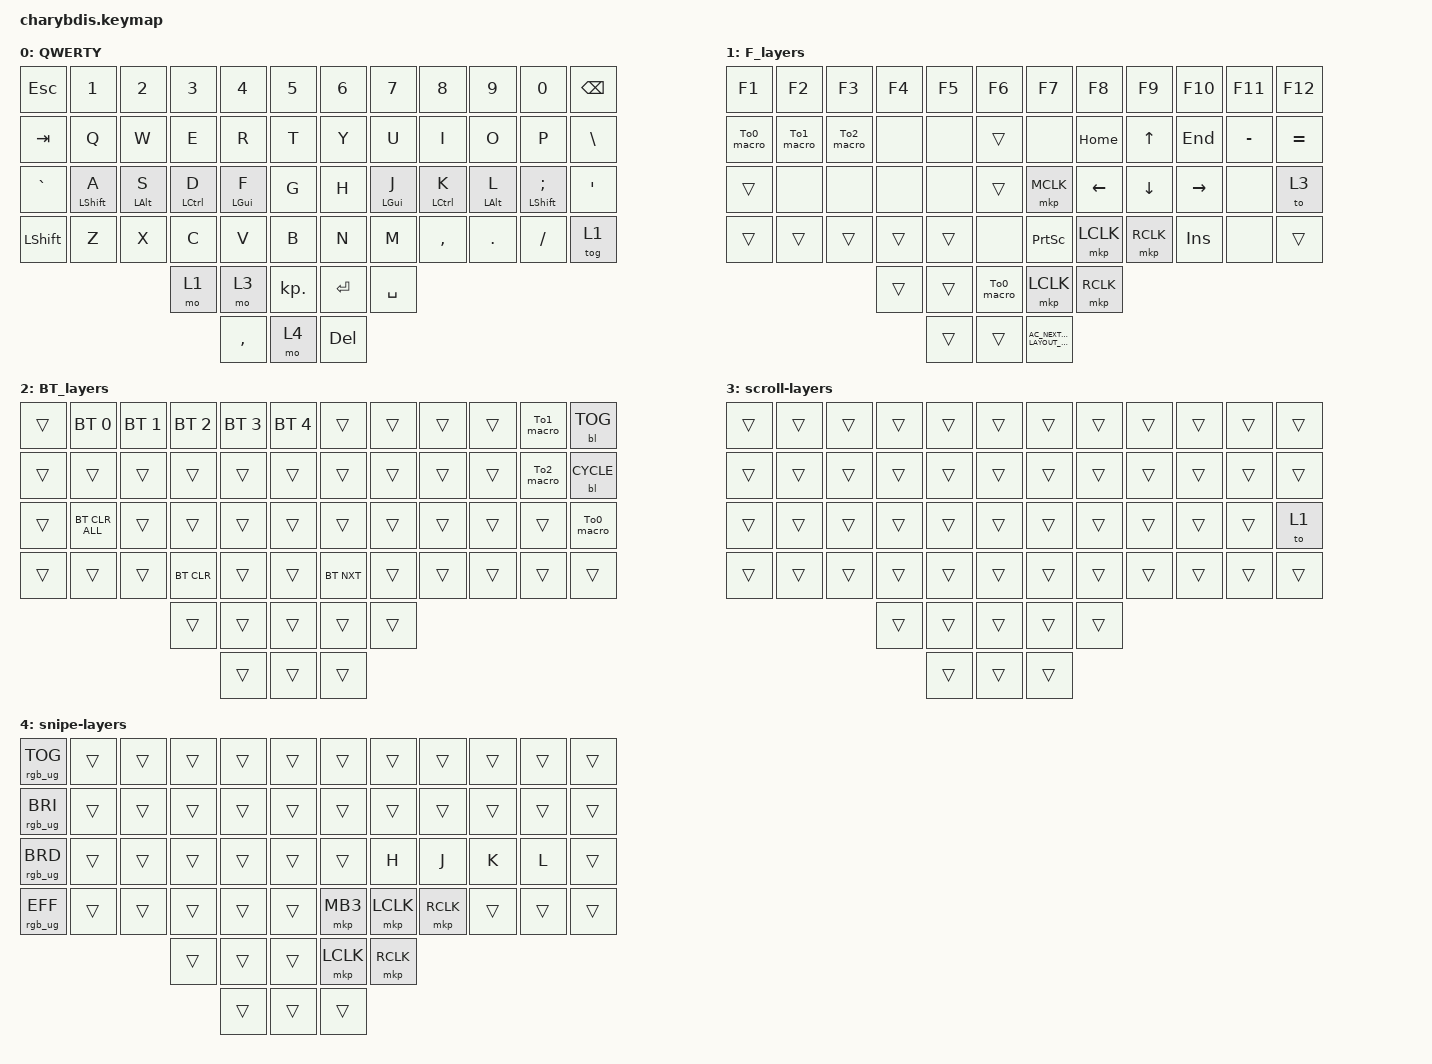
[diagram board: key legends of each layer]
#include <behaviors.dtsi>
#include <dt-bindings/zmk/backlight.h>
#include <dt-bindings/zmk/bt.h>
#include <dt-bindings/zmk/keys.h>
#include <dt-bindings/zmk/pointing.h>
#include <dt-bindings/zmk/rgb.h>

&lt {
    tapping-term-ms = <280>;
    flavor = "balanced";
    quick-tap-ms = <100>;
    hold-trigger-on-release;
};

&mt {
    quick-tap-ms = <50>;
    flavor = "tap-preferred";
    tapping-term-ms = <250>;
};

/ {
    macros {
        To1_macro: To1_macro {
            compatible = "zmk,behavior-macro";
            label = "To1_macro";
            #binding-cells = <0>;
            bindings = <&rgb_ug RGB_EFF &rgb_ug RGB_COLOR_HSB(128,100,50) &to 1>;
        };

        To0_macro: To0_macro {
            compatible = "zmk,behavior-macro";
            label = "To0_macro";
            #binding-cells = <0>;
            bindings = <&rgb_ug RGB_EFR &to 0>;
        };

        To2_macro: To2_macro {
            compatible = "zmk,behavior-macro";
            label = "To2_macro";
            #binding-cells = <0>;
            bindings =
                <&to 2>,
                <&macro_wait_time 30>,
                <&rgb_ug RGB_COLOR_HSB(250,100,50)>;
        };
    };

    combos {
        compatible = "zmk,combos";

        brackets_open {
            bindings = <&kp LEFT_BRACKET>;
            key-positions = <16 17>;
        };

        brackets_close {
            bindings = <&kp RIGHT_BRACKET>;
            key-positions = <18 19>;
        };

        minus_tap {
            bindings = <&kp MINUS>;
            key-positions = <28 29>;
        };

        plus_tap {
            bindings = <&kp PLUS>;
            key-positions = <30 31>;
        };
    };

    keymap {
        compatible = "zmk,keymap";

        QWERTY {
            bindings = <
&kp ESC         &kp N1            &kp N2          &kp N3       &kp N4          &kp N5        &kp N6     &kp N7          &kp N8       &kp N9          &kp N0                    &kp BACKSPACE
&kp TAB         &kp Q             &kp W           &kp E        &kp R           &kp T         &kp Y      &kp U           &kp I        &kp O           &kp P                     &kp BSLH
&kp GRAVE       &mt LEFT_SHIFT A  &mt LEFT_ALT S  &mt LCTRL D  &mt LEFT_GUI F  &kp G         &kp H      &mt LEFT_GUI J  &mt LCTRL K  &mt LEFT_ALT L  &mt LEFT_SHIFT SEMICOLON  &kp SQT
&kp LEFT_SHIFT  &kp Z             &kp X           &kp C        &kp V           &kp B         &kp N      &kp M           &kp COMMA    &kp DOT         &kp FSLH                  &tog 1
                                                  &mo 1        &mo 3           &kp KP_DOT    &kp ENTER  &kp SPACE
                                                               &kp COMMA       &mo 4         &kp DEL
            >;
        };

        F_layers {
            bindings = <
&kp F1      &kp F2      &kp F3      &kp F4  &kp F5  &kp F6        &kp F7                                &kp F8     &kp F9          &kp F10    &kp F11    &kp F12
&To0_macro  &To1_macro  &To2_macro  &none   &none   &trans        &none                                 &kp HOME   &kp UP_ARROW    &kp END    &kp MINUS  &kp EQUAL
&trans      &none       &none       &none   &none   &trans        &mkp MCLK                             &kp LEFT   &kp DOWN_ARROW  &kp RIGHT  &none      &to 3
&trans      &trans      &trans      &trans  &trans  &none         &kp PRINTSCREEN                       &mkp LCLK  &mkp RCLK       &kp INS    &none      &trans
                                    &trans  &trans  &To0_macro    &mkp LCLK                             &mkp RCLK
                                            &trans  &trans        &kp C_AC_NEXT_KEYBOARD_LAYOUT_SELECT
            >;
        };

        BT_layers {
            bindings = <
&trans  &bt BT_SEL 0    &bt BT_SEL 1  &bt BT_SEL 2  &bt BT_SEL 3  &bt BT_SEL 4    &trans      &trans  &trans  &trans  &To1_macro  &bl BL_TOG
&trans  &trans          &trans        &trans        &trans        &trans          &trans      &trans  &trans  &trans  &To2_macro  &bl BL_CYCLE
&trans  &bt BT_CLR_ALL  &trans        &trans        &trans        &trans          &trans      &trans  &trans  &trans  &trans      &To0_macro
&trans  &trans          &trans        &bt BT_CLR    &trans        &trans          &bt BT_NXT  &trans  &trans  &trans  &trans      &trans
                                      &trans        &trans        &trans          &trans      &trans
                                                    &trans        &trans          &trans
            >;
        };

        scroll-layers {
            bindings = <
&trans  &trans  &trans  &trans  &trans  &trans    &trans  &trans  &trans  &trans  &trans  &trans
&trans  &trans  &trans  &trans  &trans  &trans    &trans  &trans  &trans  &trans  &trans  &trans
&trans  &trans  &trans  &trans  &trans  &trans    &trans  &trans  &trans  &trans  &trans  &to 1
&trans  &trans  &trans  &trans  &trans  &trans    &trans  &trans  &trans  &trans  &trans  &trans
                        &trans  &trans  &trans    &trans  &trans
                                &trans  &trans    &trans
            >;
        };

        snipe-layers {
            bindings = <
&rgb_ug RGB_TOG  &trans  &trans  &trans  &trans  &trans    &trans     &trans     &trans     &trans  &trans  &trans
&rgb_ug RGB_BRI  &trans  &trans  &trans  &trans  &trans    &trans     &trans     &trans     &trans  &trans  &trans
&rgb_ug RGB_BRD  &trans  &trans  &trans  &trans  &trans    &trans     &kp H      &kp J      &kp K   &kp L   &trans
&rgb_ug RGB_EFF  &trans  &trans  &trans  &trans  &trans    &mkp MB3   &mkp LCLK  &mkp RCLK  &trans  &trans  &trans
                                 &trans  &trans  &trans    &mkp LCLK  &mkp RCLK
                                         &trans  &trans    &trans
            >;
        };
    };
};
